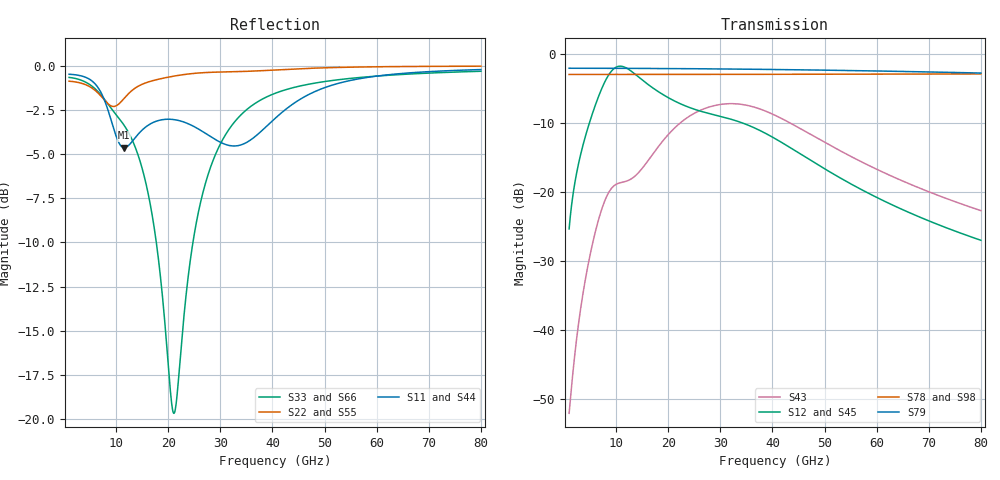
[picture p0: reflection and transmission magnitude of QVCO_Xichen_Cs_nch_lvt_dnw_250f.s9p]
! Touchstone Ver. 1.0
! Number of ports is 9
# Hz	S	RI	R	50.000000
! SCATTERING PARAMETERS  :
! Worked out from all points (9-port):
!   1001 points, 1 GHz to 80 GHz, reference 50 ohm
!   strongest paths, dB at 1 GHz, 20.75 GHz, 40.5 GHz, 60.25 GHz, 80 GHz:
!     S79: -2.0, -2.1, -2.2, -2.4, -2.7
!     S78: -2.9, -2.9, -2.9, -2.9, -2.9
!     S98: -2.9, -3.0, -3.0, -3.1, -3.2
!     S12: -25.3, -6.6, -12.2, -20.8, -27.0
!     S45: -25.3, -6.6, -12.2, -20.8, -27.0
!     S43: -52.0, -11.1, -8.8, -16.7, -22.7
!   lowest |S11| = -4.6 dB at 11.59 GHz (marker M1), VSWR 3.83, Z = 13.8 + j11.7 ohm
!   |S11| at or under -10 dB: nowhere
